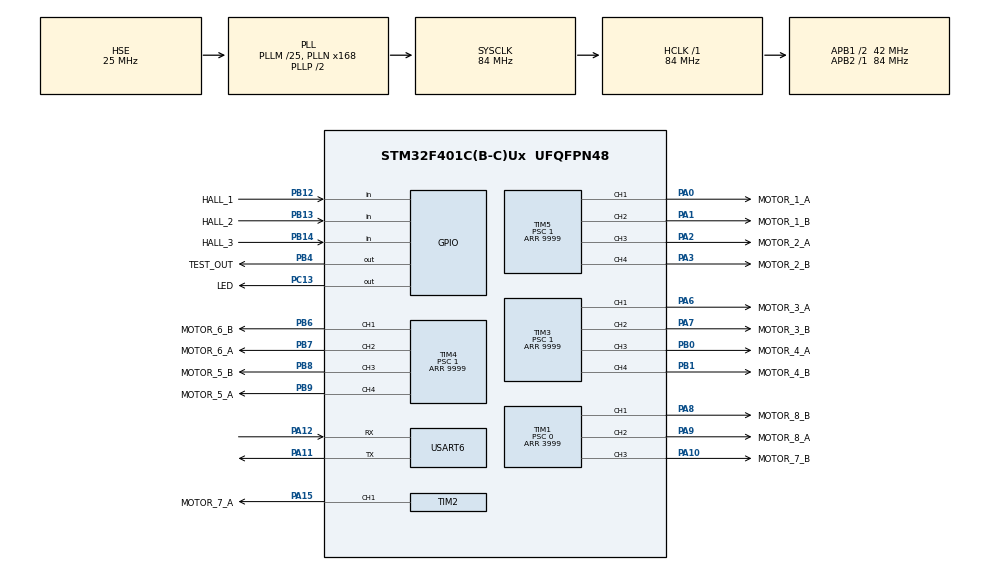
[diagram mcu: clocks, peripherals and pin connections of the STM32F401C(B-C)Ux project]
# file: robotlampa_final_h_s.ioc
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Mcu.Family=STM32F4
Mcu.Name=STM32F401C(B-C)Ux
Mcu.Package=UFQFPN48
NVIC.PriorityGroup=NVIC_PRIORITYGROUP_4
NVIC.TIM1_BRK_TIM9_IRQn=true\:0\:0\:false\:false\:true\:true\:true\:true
NVIC.TIM2_IRQn=true\:0\:0\:false\:false\:true\:true\:true\:true
PA0-WKUP.GPIO_Label=MOTOR_1_A
PA0-WKUP.GPIO_Speed=GPIO_SPEED_FREQ_VERY_HIGH
PA0-WKUP.Signal=S_TIM5_CH1
PA1.GPIO_Label=MOTOR_1_B
PA1.GPIO_Speed=GPIO_SPEED_FREQ_VERY_HIGH
PA1.Signal=S_TIM5_CH2
PA10.GPIO_Label=MOTOR_7_B
PA10.GPIO_Speed=GPIO_SPEED_FREQ_VERY_HIGH
PA10.Signal=S_TIM1_CH3
PA11.Mode=Asynchronous
PA11.Signal=USART6_TX
PA12.Mode=Asynchronous
PA12.Signal=USART6_RX
PA13.Mode=Serial_Wire
PA13.Signal=SYS_JTMS-SWDIO
PA14.Mode=Serial_Wire
PA14.Signal=SYS_JTCK-SWCLK
PA15.GPIO_Label=MOTOR_7_A
PA15.GPIO_Speed=GPIO_SPEED_FREQ_VERY_HIGH
PA15.Signal=S_TIM2_CH1_ETR
PA2.GPIO_Label=MOTOR_2_A
PA2.GPIO_Speed=GPIO_SPEED_FREQ_VERY_HIGH
PA2.Signal=S_TIM5_CH3
PA3.GPIO_Label=MOTOR_2_B
PA3.GPIO_Speed=GPIO_SPEED_FREQ_VERY_HIGH
PA3.Signal=S_TIM5_CH4
PA6.GPIO_Label=MOTOR_3_A
PA6.GPIO_Speed=GPIO_SPEED_FREQ_VERY_HIGH
PA6.Signal=S_TIM3_CH1
PA7.GPIO_Label=MOTOR_3_B
PA7.GPIO_Speed=GPIO_SPEED_FREQ_VERY_HIGH
PA7.Signal=S_TIM3_CH2
PA8.GPIO_Label=MOTOR_8_B
PA8.GPIO_Speed=GPIO_SPEED_FREQ_VERY_HIGH
PA8.Signal=S_TIM1_CH1
PA9.GPIO_Label=MOTOR_8_A
PA9.GPIO_Speed=GPIO_SPEED_FREQ_VERY_HIGH
PA9.Signal=S_TIM1_CH2
PB0.GPIO_Label=MOTOR_4_A
PB0.GPIO_Speed=GPIO_SPEED_FREQ_VERY_HIGH
PB0.Signal=S_TIM3_CH3
PB1.GPIO_Label=MOTOR_4_B
PB1.GPIO_Speed=GPIO_SPEED_FREQ_VERY_HIGH
PB1.Signal=S_TIM3_CH4
PB12.GPIO_Label=HALL_1
PB12.Signal=GPIO_Input
PB13.GPIO_Label=HALL_2
PB13.Signal=GPIO_Input
PB14.GPIO_Label=HALL_3
PB14.Signal=GPIO_Input
PB4.GPIO_Label=TEST_OUT
PB4.GPIO_Speed=GPIO_SPEED_FREQ_VERY_HIGH
PB4.Signal=GPIO_Output
PB6.GPIO_Label=MOTOR_6_B
PB6.GPIO_Speed=GPIO_SPEED_FREQ_VERY_HIGH
PB6.Signal=S_TIM4_CH1
PB7.GPIO_Label=MOTOR_6_A
PB7.GPIO_Speed=GPIO_SPEED_FREQ_VERY_HIGH
PB7.Signal=S_TIM4_CH2
PB8.GPIO_Label=MOTOR_5_B
PB8.GPIO_Speed=GPIO_SPEED_FREQ_VERY_HIGH
PB8.Signal=S_TIM4_CH3
PB9.GPIO_Label=MOTOR_5_A
PB9.GPIO_Speed=GPIO_SPEED_FREQ_VERY_HIGH
PB9.Signal=S_TIM4_CH4
PC13-ANTI_TAMP.GPIO_Label=LED
PC13-ANTI_TAMP.GPIO_Speed=GPIO_SPEED_FREQ_LOW
PC13-ANTI_TAMP.Signal=GPIO_Output
PH0\ -\ OSC_IN.Mode=HSE-External-Oscillator
PH0\ -\ OSC_IN.Signal=RCC_OSC_IN
PH1\ -\ OSC_OUT.Mode=HSE-External-Oscillator
PH1\ -\ OSC_OUT.Signal=RCC_OSC_OUT
ProjectManager.HeapSize=0x200
ProjectManager.StackSize=0x400
ProjectManager.TargetToolchain=STM32CubeIDE
RCC.48MHZClocksFreq_Value=42000000
RCC.AHBFreq_Value=84000000
RCC.APB1CLKDivider=RCC_HCLK_DIV2
RCC.APB1Freq_Value=42000000
RCC.APB1TimFreq_Value=84000000
RCC.APB2Freq_Value=84000000
RCC.APB2TimFreq_Value=84000000
RCC.CortexFreq_Value=84000000
RCC.HCLKFreq_Value=84000000
RCC.HSE_Timout=1000
RCC.HSE_VALUE=25000000
RCC.HSI_VALUE=16000000
RCC.LSE_Timout=10000
RCC.LSE_VALUE=32768
RCC.PLLM=25
RCC.PLLN=168
RCC.PLLSourceVirtual=RCC_PLLSOURCE_HSE
RCC.RCC_TIM_PRescaler_Selection=RCC_TIMPRES_DESACTIVATED
RCC.SYSCLKFreq_VALUE=84000000
RCC.SYSCLKSource=RCC_SYSCLKSOURCE_PLLCLK
RCC.VCOOutputFreq_Value=168000000
SH.S_TIM1_CH1.0=TIM1_CH1,PWM Generation1 CH1
SH.S_TIM1_CH2.0=TIM1_CH2,PWM Generation2 CH2
SH.S_TIM1_CH3.0=TIM1_CH3,PWM Generation3 CH3
SH.S_TIM2_CH1_ETR.0=TIM2_CH1,PWM Generation1 CH1
SH.S_TIM3_CH1.0=TIM3_CH1,PWM Generation1 CH1
SH.S_TIM3_CH2.0=TIM3_CH2,PWM Generation2 CH2
SH.S_TIM3_CH3.0=TIM3_CH3,PWM Generation3 CH3
SH.S_TIM3_CH4.0=TIM3_CH4,PWM Generation4 CH4
SH.S_TIM4_CH1.0=TIM4_CH1,PWM Generation1 CH1
SH.S_TIM4_CH2.0=TIM4_CH2,PWM Generation2 CH2
SH.S_TIM4_CH3.0=TIM4_CH3,PWM Generation3 CH3
SH.S_TIM4_CH4.0=TIM4_CH4,PWM Generation4 CH4
SH.S_TIM5_CH1.0=TIM5_CH1,PWM Generation1 CH1
SH.S_TIM5_CH2.0=TIM5_CH2,PWM Generation2 CH2
SH.S_TIM5_CH3.0=TIM5_CH3,PWM Generation3 CH3
SH.S_TIM5_CH4.0=TIM5_CH4,PWM Generation4 CH4
TIM1.AutoReloadPreload=TIM_AUTORELOAD_PRELOAD_ENABLE
TIM1.Channel-PWM\ Generation1\ CH1=TIM_CHANNEL_1
TIM1.Channel-PWM\ Generation2\ CH2=TIM_CHANNEL_2
TIM1.Channel-PWM\ Generation3\ CH3=TIM_CHANNEL_3
TIM1.Period=3999
TIM1.Prescaler=0
TIM2.AutoReloadPreload=TIM_AUTORELOAD_PRELOAD_ENABLE
TIM2.Channel-PWM\ Generation1\ CH1=TIM_CHANNEL_1
TIM2.Period=9999
TIM2.Prescaler=1
TIM3.AutoReloadPreload=TIM_AUTORELOAD_PRELOAD_ENABLE
TIM3.Channel-PWM\ Generation1\ CH1=TIM_CHANNEL_1
TIM3.Channel-PWM\ Generation2\ CH2=TIM_CHANNEL_2
TIM3.Channel-PWM\ Generation3\ CH3=TIM_CHANNEL_3
TIM3.Channel-PWM\ Generation4\ CH4=TIM_CHANNEL_4
TIM3.Period=9999
TIM3.Prescaler=1
TIM4.AutoReloadPreload=TIM_AUTORELOAD_PRELOAD_ENABLE
TIM4.Channel-PWM\ Generation1\ CH1=TIM_CHANNEL_1
TIM4.Channel-PWM\ Generation2\ CH2=TIM_CHANNEL_2
TIM4.Channel-PWM\ Generation3\ CH3=TIM_CHANNEL_3
TIM4.Channel-PWM\ Generation4\ CH4=TIM_CHANNEL_4
TIM4.Period=9999
TIM4.Prescaler=1
TIM5.AutoReloadPreload=TIM_AUTORELOAD_PRELOAD_ENABLE
TIM5.Channel-PWM\ Generation1\ CH1=TIM_CHANNEL_1
TIM5.Channel-PWM\ Generation2\ CH2=TIM_CHANNEL_2
TIM5.Channel-PWM\ Generation3\ CH3=TIM_CHANNEL_3
TIM5.Channel-PWM\ Generation4\ CH4=TIM_CHANNEL_4
TIM5.Period=9999
TIM5.Prescaler=1
TIM9.AutoReloadPreload=TIM_AUTORELOAD_PRELOAD_ENABLE
TIM9.Period=999
TIM9.Prescaler=83
USART6.VirtualMode=VM_ASYNC
VP_TIM1_VS_ClockSourceINT.Mode=Internal
VP_TIM2_VS_ClockSourceINT.Mode=Internal
VP_TIM3_VS_ClockSourceINT.Mode=Internal
VP_TIM4_VS_ClockSourceINT.Mode=Internal
VP_TIM5_VS_ClockSourceINT.Mode=Internal
VP_TIM9_VS_ClockSourceINT.Mode=Internal
board=custom

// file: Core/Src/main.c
/* USER CODE BEGIN Header */
/**
  ******************************************************************************
  * @file           : main.c
  * @brief          : Main program body
  ******************************************************************************
  * @attention
  *
  * Copyright (c) 2025 STMicroelectronics.
  * All rights reserved.
  *
  * This software is licensed under terms that can be found in the LICENSE file
  * in the root directory of this software component.
  * If no LICENSE file comes with this software, it is provided AS-IS.
  *
  ******************************************************************************
  */
/* USER CODE END Header */
#include "main.h"

/* USER CODE BEGIN Includes */
#include <my_main.h>
#include <Services/Inc/dmx_usart_s.h>
#include <Services/Inc/interrupt_s.h>
//#include <motor_1_drive_s.h>
//#include <motor_2_drive_s.h>
/* USER CODE END Includes */

TIM_HandleTypeDef htim1;
TIM_HandleTypeDef htim2;
TIM_HandleTypeDef htim3;
TIM_HandleTypeDef htim4;
TIM_HandleTypeDef htim5;
TIM_HandleTypeDef htim9;

UART_HandleTypeDef huart6;

/* USER CODE BEGIN PV */
uint8_t rx_buffer;

/* USER CODE END PV */

void SystemClock_Config(void);
static void MX_GPIO_Init(void);
static void MX_TIM2_Init(void);
static void MX_USART6_UART_Init(void);
static void MX_TIM1_Init(void);
static void MX_TIM3_Init(void);
static void MX_TIM4_Init(void);
static void MX_TIM5_Init(void);
static void MX_TIM9_Init(void);

int main(void)
{

  /* MCU Configuration--------------------------------------------------------*/

  /* Reset of all peripherals, Initializes the Flash interface and the Systick. */
  HAL_Init();

  /* Configure the system clock */
  SystemClock_Config();

  /* Initialize all configured peripherals */
  MX_GPIO_Init();
  MX_TIM2_Init();
  MX_USART6_UART_Init();
  MX_TIM1_Init();
  MX_TIM3_Init();
  MX_TIM4_Init();
  MX_TIM5_Init();
  MX_TIM9_Init();
  /* USER CODE BEGIN 2 */

  my_main_init();

  HAL_TIM_Base_Start_IT(&htim9);

  HAL_TIM_PWM_Start(&htim1, TIM_CHANNEL_1);
  HAL_TIM_PWM_Start(&htim1, TIM_CHANNEL_2);
  HAL_TIM_PWM_Start(&htim1, TIM_CHANNEL_3);
  HAL_TIM_PWM_Start(&htim2, TIM_CHANNEL_1);

  HAL_TIM_PWM_Start(&htim3, TIM_CHANNEL_1);
  HAL_TIM_PWM_Start(&htim3, TIM_CHANNEL_2);
  HAL_TIM_PWM_Start(&htim3, TIM_CHANNEL_3);
  HAL_TIM_PWM_Start(&htim3, TIM_CHANNEL_4);

  HAL_TIM_PWM_Start(&htim4, TIM_CHANNEL_1);
  HAL_TIM_PWM_Start(&htim4, TIM_CHANNEL_2);
  HAL_TIM_PWM_Start(&htim4, TIM_CHANNEL_3);
  HAL_TIM_PWM_Start(&htim4, TIM_CHANNEL_4);

  HAL_TIM_PWM_Start(&htim5, TIM_CHANNEL_1);
  HAL_TIM_PWM_Start(&htim5, TIM_CHANNEL_2);
  HAL_TIM_PWM_Start(&htim5, TIM_CHANNEL_3);
  HAL_TIM_PWM_Start(&htim5, TIM_CHANNEL_4);

  HAL_UART_Receive_IT(&huart6, &rx_buffer, 1);

  /* USER CODE END 2 */

  /* Infinite loop */
  /* USER CODE BEGIN WHILE */
  while (1)
  {
	  my_main_loop();

    /* USER CODE END WHILE */

  }
}

void SystemClock_Config(void)
{
  RCC_OscInitTypeDef RCC_OscInitStruct = {0};
  RCC_ClkInitTypeDef RCC_ClkInitStruct = {0};

  /** Configure the main internal regulator output voltage
  */
  __HAL_RCC_PWR_CLK_ENABLE();
  __HAL_PWR_VOLTAGESCALING_CONFIG(PWR_REGULATOR_VOLTAGE_SCALE2);

  /** Initializes the RCC Oscillators according to the specified parameters
  * in the RCC_OscInitTypeDef structure.
  */
  RCC_OscInitStruct.OscillatorType = RCC_OSCILLATORTYPE_HSE;
  RCC_OscInitStruct.HSEState = RCC_HSE_ON;
  RCC_OscInitStruct.PLL.PLLState = RCC_PLL_ON;
  RCC_OscInitStruct.PLL.PLLSource = RCC_PLLSOURCE_HSE;
  RCC_OscInitStruct.PLL.PLLM = 25;
  RCC_OscInitStruct.PLL.PLLN = 168;
  RCC_OscInitStruct.PLL.PLLP = RCC_PLLP_DIV2;
  RCC_OscInitStruct.PLL.PLLQ = 4;
  if (HAL_RCC_OscConfig(&RCC_OscInitStruct) != HAL_OK)
  {
    Error_Handler();
  }

  /** Initializes the CPU, AHB and APB buses clocks
  */
  RCC_ClkInitStruct.ClockType = RCC_CLOCKTYPE_HCLK|RCC_CLOCKTYPE_SYSCLK
                              |RCC_CLOCKTYPE_PCLK1|RCC_CLOCKTYPE_PCLK2;
  RCC_ClkInitStruct.SYSCLKSource = RCC_SYSCLKSOURCE_PLLCLK;
  RCC_ClkInitStruct.AHBCLKDivider = RCC_SYSCLK_DIV1;
  RCC_ClkInitStruct.APB1CLKDivider = RCC_HCLK_DIV2;
  RCC_ClkInitStruct.APB2CLKDivider = RCC_HCLK_DIV1;

  if (HAL_RCC_ClockConfig(&RCC_ClkInitStruct, FLASH_LATENCY_2) != HAL_OK)
  {
    Error_Handler();
  }
}

static void MX_TIM1_Init(void)
{

  TIM_ClockConfigTypeDef sClockSourceConfig = {0};
  TIM_MasterConfigTypeDef sMasterConfig = {0};
  TIM_OC_InitTypeDef sConfigOC = {0};
  TIM_BreakDeadTimeConfigTypeDef sBreakDeadTimeConfig = {0};

  htim1.Instance = TIM1;
  htim1.Init.Prescaler = 0;
  htim1.Init.CounterMode = TIM_COUNTERMODE_UP;
  htim1.Init.Period = 3999;
  htim1.Init.ClockDivision = TIM_CLOCKDIVISION_DIV1;
  htim1.Init.RepetitionCounter = 0;
  htim1.Init.AutoReloadPreload = TIM_AUTORELOAD_PRELOAD_ENABLE;
  if (HAL_TIM_Base_Init(&htim1) != HAL_OK)
  {
    Error_Handler();
  }
  sClockSourceConfig.ClockSource = TIM_CLOCKSOURCE_INTERNAL;
  if (HAL_TIM_ConfigClockSource(&htim1, &sClockSourceConfig) != HAL_OK)
  {
    Error_Handler();
  }
  if (HAL_TIM_PWM_Init(&htim1) != HAL_OK)
  {
    Error_Handler();
  }
  sMasterConfig.MasterOutputTrigger = TIM_TRGO_RESET;
  sMasterConfig.MasterSlaveMode = TIM_MASTERSLAVEMODE_DISABLE;
  if (HAL_TIMEx_MasterConfigSynchronization(&htim1, &sMasterConfig) != HAL_OK)
  {
    Error_Handler();
  }
  sConfigOC.OCMode = TIM_OCMODE_PWM1;
  sConfigOC.Pulse = 0;
  sConfigOC.OCPolarity = TIM_OCPOLARITY_HIGH;
  sConfigOC.OCNPolarity = TIM_OCNPOLARITY_HIGH;
  sConfigOC.OCFastMode = TIM_OCFAST_DISABLE;
  sConfigOC.OCIdleState = TIM_OCIDLESTATE_RESET;
  sConfigOC.OCNIdleState = TIM_OCNIDLESTATE_RESET;
  if (HAL_TIM_PWM_ConfigChannel(&htim1, &sConfigOC, TIM_CHANNEL_1) != HAL_OK)
  {
    Error_Handler();
  }
  if (HAL_TIM_PWM_ConfigChannel(&htim1, &sConfigOC, TIM_CHANNEL_2) != HAL_OK)
  {
    Error_Handler();
  }
  if (HAL_TIM_PWM_ConfigChannel(&htim1, &sConfigOC, TIM_CHANNEL_3) != HAL_OK)
  {
    Error_Handler();
  }
  sBreakDeadTimeConfig.OffStateRunMode = TIM_OSSR_DISABLE;
  sBreakDeadTimeConfig.OffStateIDLEMode = TIM_OSSI_DISABLE;
  sBreakDeadTimeConfig.LockLevel = TIM_LOCKLEVEL_OFF;
  sBreakDeadTimeConfig.DeadTime = 0;
  sBreakDeadTimeConfig.BreakState = TIM_BREAK_DISABLE;
  sBreakDeadTimeConfig.BreakPolarity = TIM_BREAKPOLARITY_HIGH;
  sBreakDeadTimeConfig.AutomaticOutput = TIM_AUTOMATICOUTPUT_DISABLE;
  if (HAL_TIMEx_ConfigBreakDeadTime(&htim1, &sBreakDeadTimeConfig) != HAL_OK)
  {
    Error_Handler();
  }
  HAL_TIM_MspPostInit(&htim1);

}

static void MX_TIM2_Init(void)
{

  TIM_ClockConfigTypeDef sClockSourceConfig = {0};
  TIM_MasterConfigTypeDef sMasterConfig = {0};
  TIM_OC_InitTypeDef sConfigOC = {0};

  htim2.Instance = TIM2;
  htim2.Init.Prescaler = 0;
  htim2.Init.CounterMode = TIM_COUNTERMODE_UP;
  htim2.Init.Period = 3999;
  htim2.Init.ClockDivision = TIM_CLOCKDIVISION_DIV1;
  htim2.Init.AutoReloadPreload = TIM_AUTORELOAD_PRELOAD_ENABLE;
  if (HAL_TIM_Base_Init(&htim2) != HAL_OK)
  {
    Error_Handler();
  }
  sClockSourceConfig.ClockSource = TIM_CLOCKSOURCE_INTERNAL;
  if (HAL_TIM_ConfigClockSource(&htim2, &sClockSourceConfig) != HAL_OK)
  {
    Error_Handler();
  }
  if (HAL_TIM_PWM_Init(&htim2) != HAL_OK)
  {
    Error_Handler();
  }
  sMasterConfig.MasterOutputTrigger = TIM_TRGO_RESET;
  sMasterConfig.MasterSlaveMode = TIM_MASTERSLAVEMODE_DISABLE;
  if (HAL_TIMEx_MasterConfigSynchronization(&htim2, &sMasterConfig) != HAL_OK)
  {
    Error_Handler();
  }
  sConfigOC.OCMode = TIM_OCMODE_PWM1;
  sConfigOC.Pulse = 0;
  sConfigOC.OCPolarity = TIM_OCPOLARITY_HIGH;
  sConfigOC.OCFastMode = TIM_OCFAST_DISABLE;
  if (HAL_TIM_PWM_ConfigChannel(&htim2, &sConfigOC, TIM_CHANNEL_1) != HAL_OK)
  {
    Error_Handler();
  }
  HAL_TIM_MspPostInit(&htim2);

}

static void MX_TIM3_Init(void)
{

  TIM_ClockConfigTypeDef sClockSourceConfig = {0};
  TIM_MasterConfigTypeDef sMasterConfig = {0};
  TIM_OC_InitTypeDef sConfigOC = {0};

  htim3.Instance = TIM3;
  htim3.Init.Prescaler = 0;
  htim3.Init.CounterMode = TIM_COUNTERMODE_UP;
  htim3.Init.Period = 3999;
  htim3.Init.ClockDivision = TIM_CLOCKDIVISION_DIV1;
  htim3.Init.AutoReloadPreload = TIM_AUTORELOAD_PRELOAD_ENABLE;
  if (HAL_TIM_Base_Init(&htim3) != HAL_OK)
  {
    Error_Handler();
  }
  sClockSourceConfig.ClockSource = TIM_CLOCKSOURCE_INTERNAL;
  if (HAL_TIM_ConfigClockSource(&htim3, &sClockSourceConfig) != HAL_OK)
  {
    Error_Handler();
  }
  if (HAL_TIM_PWM_Init(&htim3) != HAL_OK)
  {
    Error_Handler();
  }
  sMasterConfig.MasterOutputTrigger = TIM_TRGO_RESET;
  sMasterConfig.MasterSlaveMode = TIM_MASTERSLAVEMODE_DISABLE;
  if (HAL_TIMEx_MasterConfigSynchronization(&htim3, &sMasterConfig) != HAL_OK)
  {
    Error_Handler();
  }
  sConfigOC.OCMode = TIM_OCMODE_PWM1;
  sConfigOC.Pulse = 0;
  sConfigOC.OCPolarity = TIM_OCPOLARITY_HIGH;
  sConfigOC.OCFastMode = TIM_OCFAST_DISABLE;
  if (HAL_TIM_PWM_ConfigChannel(&htim3, &sConfigOC, TIM_CHANNEL_1) != HAL_OK)
  {
    Error_Handler();
  }
  if (HAL_TIM_PWM_ConfigChannel(&htim3, &sConfigOC, TIM_CHANNEL_2) != HAL_OK)
  {
    Error_Handler();
  }
  if (HAL_TIM_PWM_ConfigChannel(&htim3, &sConfigOC, TIM_CHANNEL_3) != HAL_OK)
  {
    Error_Handler();
  }
  if (HAL_TIM_PWM_ConfigChannel(&htim3, &sConfigOC, TIM_CHANNEL_4) != HAL_OK)
  {
    Error_Handler();
  }
  HAL_TIM_MspPostInit(&htim3);

}

static void MX_TIM4_Init(void)
{

  TIM_ClockConfigTypeDef sClockSourceConfig = {0};
  TIM_MasterConfigTypeDef sMasterConfig = {0};
  TIM_OC_InitTypeDef sConfigOC = {0};

  htim4.Instance = TIM4;
  htim4.Init.Prescaler = 0;
  htim4.Init.CounterMode = TIM_COUNTERMODE_UP;
  htim4.Init.Period = 3999;
  htim4.Init.ClockDivision = TIM_CLOCKDIVISION_DIV1;
  htim4.Init.AutoReloadPreload = TIM_AUTORELOAD_PRELOAD_ENABLE;
  if (HAL_TIM_Base_Init(&htim4) != HAL_OK)
  {
    Error_Handler();
  }
  sClockSourceConfig.ClockSource = TIM_CLOCKSOURCE_INTERNAL;
  if (HAL_TIM_ConfigClockSource(&htim4, &sClockSourceConfig) != HAL_OK)
  {
    Error_Handler();
  }
  if (HAL_TIM_PWM_Init(&htim4) != HAL_OK)
  {
    Error_Handler();
  }
  sMasterConfig.MasterOutputTrigger = TIM_TRGO_RESET;
  sMasterConfig.MasterSlaveMode = TIM_MASTERSLAVEMODE_DISABLE;
  if (HAL_TIMEx_MasterConfigSynchronization(&htim4, &sMasterConfig) != HAL_OK)
  {
    Error_Handler();
  }
  sConfigOC.OCMode = TIM_OCMODE_PWM1;
  sConfigOC.Pulse = 0;
  sConfigOC.OCPolarity = TIM_OCPOLARITY_HIGH;
  sConfigOC.OCFastMode = TIM_OCFAST_DISABLE;
  if (HAL_TIM_PWM_ConfigChannel(&htim4, &sConfigOC, TIM_CHANNEL_1) != HAL_OK)
  {
    Error_Handler();
  }
  if (HAL_TIM_PWM_ConfigChannel(&htim4, &sConfigOC, TIM_CHANNEL_2) != HAL_OK)
  {
    Error_Handler();
  }
  if (HAL_TIM_PWM_ConfigChannel(&htim4, &sConfigOC, TIM_CHANNEL_3) != HAL_OK)
  {
    Error_Handler();
  }
  if (HAL_TIM_PWM_ConfigChannel(&htim4, &sConfigOC, TIM_CHANNEL_4) != HAL_OK)
  {
    Error_Handler();
  }
  HAL_TIM_MspPostInit(&htim4);

}

static void MX_TIM5_Init(void)
{

  TIM_ClockConfigTypeDef sClockSourceConfig = {0};
  TIM_MasterConfigTypeDef sMasterConfig = {0};
  TIM_OC_InitTypeDef sConfigOC = {0};

  htim5.Instance = TIM5;
  htim5.Init.Prescaler = 0;
  htim5.Init.CounterMode = TIM_COUNTERMODE_UP;
  htim5.Init.Period = 3999;
  htim5.Init.ClockDivision = TIM_CLOCKDIVISION_DIV1;
  htim5.Init.AutoReloadPreload = TIM_AUTORELOAD_PRELOAD_ENABLE;
  if (HAL_TIM_Base_Init(&htim5) != HAL_OK)
  {
    Error_Handler();
  }
  sClockSourceConfig.ClockSource = TIM_CLOCKSOURCE_INTERNAL;
  if (HAL_TIM_ConfigClockSource(&htim5, &sClockSourceConfig) != HAL_OK)
  {
    Error_Handler();
  }
  if (HAL_TIM_PWM_Init(&htim5) != HAL_OK)
  {
    Error_Handler();
  }
  sMasterConfig.MasterOutputTrigger = TIM_TRGO_RESET;
  sMasterConfig.MasterSlaveMode = TIM_MASTERSLAVEMODE_DISABLE;
  if (HAL_TIMEx_MasterConfigSynchronization(&htim5, &sMasterConfig) != HAL_OK)
  {
    Error_Handler();
  }
  sConfigOC.OCMode = TIM_OCMODE_PWM1;
  sConfigOC.Pulse = 0;
  sConfigOC.OCPolarity = TIM_OCPOLARITY_HIGH;
  sConfigOC.OCFastMode = TIM_OCFAST_DISABLE;
  if (HAL_TIM_PWM_ConfigChannel(&htim5, &sConfigOC, TIM_CHANNEL_1) != HAL_OK)
  {
    Error_Handler();
  }
  if (HAL_TIM_PWM_ConfigChannel(&htim5, &sConfigOC, TIM_CHANNEL_2) != HAL_OK)
  {
    Error_Handler();
  }
  if (HAL_TIM_PWM_ConfigChannel(&htim5, &sConfigOC, TIM_CHANNEL_3) != HAL_OK)
  {
    Error_Handler();
  }
  if (HAL_TIM_PWM_ConfigChannel(&htim5, &sConfigOC, TIM_CHANNEL_4) != HAL_OK)
  {
    Error_Handler();
  }
  HAL_TIM_MspPostInit(&htim5);

}

static void MX_TIM9_Init(void)
{

  TIM_ClockConfigTypeDef sClockSourceConfig = {0};

  htim9.Instance = TIM9;
  htim9.Init.Prescaler = 83;
  htim9.Init.CounterMode = TIM_COUNTERMODE_UP;
  htim9.Init.Period = 999;
  htim9.Init.ClockDivision = TIM_CLOCKDIVISION_DIV1;
  htim9.Init.AutoReloadPreload = TIM_AUTORELOAD_PRELOAD_ENABLE;
  if (HAL_TIM_Base_Init(&htim9) != HAL_OK)
  {
    Error_Handler();
  }
  sClockSourceConfig.ClockSource = TIM_CLOCKSOURCE_INTERNAL;
  if (HAL_TIM_ConfigClockSource(&htim9, &sClockSourceConfig) != HAL_OK)
  {
    Error_Handler();
  }

}

static void MX_USART6_UART_Init(void)
{

  huart6.Instance = USART6;
  huart6.Init.BaudRate = 250000;
  huart6.Init.WordLength = UART_WORDLENGTH_8B;
  huart6.Init.StopBits = UART_STOPBITS_2;
  huart6.Init.Parity = UART_PARITY_NONE;
  huart6.Init.Mode = UART_MODE_TX_RX;
  huart6.Init.HwFlowCtl = UART_HWCONTROL_NONE;
  huart6.Init.OverSampling = UART_OVERSAMPLING_16;
  if (HAL_UART_Init(&huart6) != HAL_OK)
  {
    Error_Handler();
  }

}

static void MX_GPIO_Init(void)
{
  GPIO_InitTypeDef GPIO_InitStruct = {0};

  /* GPIO Ports Clock Enable */
  __HAL_RCC_GPIOC_CLK_ENABLE();
  __HAL_RCC_GPIOH_CLK_ENABLE();
  __HAL_RCC_GPIOA_CLK_ENABLE();
  __HAL_RCC_GPIOB_CLK_ENABLE();

  /*Configure GPIO pin Output Level */
  HAL_GPIO_WritePin(LED_GPIO_Port, LED_Pin, GPIO_PIN_RESET);

  /*Configure GPIO pin Output Level */
  HAL_GPIO_WritePin(TEST_OUT_GPIO_Port, TEST_OUT_Pin, GPIO_PIN_RESET);

  /*Configure GPIO pin : LED_Pin */
  GPIO_InitStruct.Pin = LED_Pin;
  GPIO_InitStruct.Mode = GPIO_MODE_OUTPUT_PP;
  GPIO_InitStruct.Pull = GPIO_NOPULL;
  GPIO_InitStruct.Speed = GPIO_SPEED_FREQ_LOW;
  HAL_GPIO_Init(LED_GPIO_Port, &GPIO_InitStruct);

  /*Configure GPIO pins : HALL_1_Pin HALL_2_Pin HALL_3_Pin */
  GPIO_InitStruct.Pin = HALL_1_Pin|HALL_2_Pin|HALL_3_Pin;
  GPIO_InitStruct.Mode = GPIO_MODE_INPUT;
  GPIO_InitStruct.Pull = GPIO_NOPULL;
  HAL_GPIO_Init(GPIOB, &GPIO_InitStruct);

  /*Configure GPIO pin : TEST_OUT_Pin */
  GPIO_InitStruct.Pin = TEST_OUT_Pin;
  GPIO_InitStruct.Mode = GPIO_MODE_OUTPUT_PP;
  GPIO_InitStruct.Pull = GPIO_NOPULL;
  GPIO_InitStruct.Speed = GPIO_SPEED_FREQ_VERY_HIGH;
  HAL_GPIO_Init(TEST_OUT_GPIO_Port, &GPIO_InitStruct);

}

/* USER CODE BEGIN 4 */

void HAL_TIM_PeriodElapsedCallback(TIM_HandleTypeDef *htim)
{
    if (htim->Instance == TIM9)
    {
    	motor_refresh_IT();
    }
}

void set_pwm_duty(uint8_t pwm_num, uint16_t duty)
{
	switch (pwm_num) {
	case 0:
			__HAL_TIM_SET_COMPARE(&htim1, TIM_CHANNEL_1, duty);
			break;
	case 1:
			__HAL_TIM_SET_COMPARE(&htim1, TIM_CHANNEL_2, duty);
			break;
	case 2:
			__HAL_TIM_SET_COMPARE(&htim1, TIM_CHANNEL_3, duty);
			break;
	case 3:
			__HAL_TIM_SET_COMPARE(&htim2, TIM_CHANNEL_1, duty);
			break;
	case 4:
			__HAL_TIM_SET_COMPARE(&htim3, TIM_CHANNEL_1, duty);
			break;
	case 5:
			__HAL_TIM_SET_COMPARE(&htim3, TIM_CHANNEL_2, duty);
			break;
	case 6:
			__HAL_TIM_SET_COMPARE(&htim3, TIM_CHANNEL_3, duty);
			break;
	case 7:
			__HAL_TIM_SET_COMPARE(&htim3, TIM_CHANNEL_4, duty);
			break;
	case 8:
			__HAL_TIM_SET_COMPARE(&htim4, TIM_CHANNEL_1, duty);
			break;
	case 9:
			__HAL_TIM_SET_COMPARE(&htim4, TIM_CHANNEL_2, duty);
			break;
	case 10:
			__HAL_TIM_SET_COMPARE(&htim4, TIM_CHANNEL_3, duty);
			break;
	case 11:
			__HAL_TIM_SET_COMPARE(&htim4, TIM_CHANNEL_4, duty);
			break;
	case 12:
			__HAL_TIM_SET_COMPARE(&htim5, TIM_CHANNEL_1, duty);
			break;
	case 13:
			__HAL_TIM_SET_COMPARE(&htim5, TIM_CHANNEL_2, duty);
			break;
	case 14:
			__HAL_TIM_SET_COMPARE(&htim5, TIM_CHANNEL_3, duty);
			break;
	case 15:
			__HAL_TIM_SET_COMPARE(&htim5, TIM_CHANNEL_4, duty);
			break;
	default:
			break;
	}
}

void HAL_UART_RxCpltCallback(UART_HandleTypeDef *huart)
{
	static uint32_t current_time = 0;
	static uint32_t prev_time = 0;
	static uint32_t interval = 10;

	if (huart->Instance == USART6)
	{
		current_time = HAL_GetTick();

		if ((uint32_t)(current_time - prev_time)>= interval)
		{
			usart_rx_fe_callback();
		}else
		{
			usart_rx_callback(rx_buffer);
		}

		prev_time = current_time;
		HAL_UART_Receive_IT(&huart6, &rx_buffer, 1);
	}
}

/* USER CODE END 4 */

void Error_Handler(void)
{
  __disable_irq();
  while (1)
  {
  }
}
